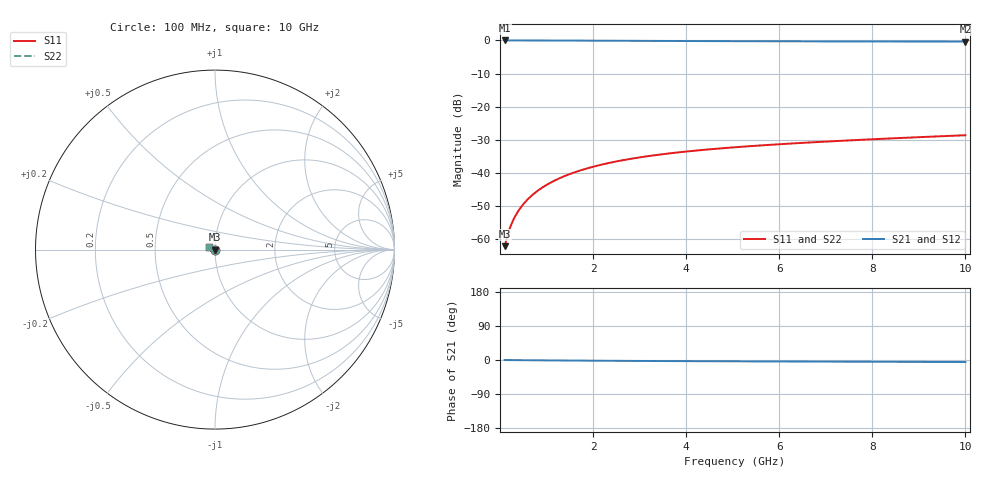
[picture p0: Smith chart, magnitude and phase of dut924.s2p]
! Touchstone file exported from HFSS 2024.1.0
!  File:  C:/UserFiles/LocalFiles/RDL_TSV_Batchsim/temp_TSV1_924_1779946578.aedt
!  Generated:  01:41:03 PM May 28, 2026
!  Design:  TSV1
!  Project:  temp_TSV1_924_1779946578
!  Setup:  Setup1
!  Solution:  Sweep
! Variables:
!  dtsv = 5.83um
!  hbump = 3um
!  htsv = 81.93um
!  lrdl = 252.1521522um
!  p = 40
!  p1 = 43.02um
!  t = 500um
!  trdl = 3um
!  wrdl = 24.89489489um
# GHz S MA R 50.000000
! Terminal data exported
! Port[1] = TSV22_T1
! Port[2] = TSV22_T2
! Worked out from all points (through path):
!   100 points, 100 MHz to 10 GHz, reference 50 ohm
!   highest |S21| = 0.00 dB at 100 MHz (marker M1); lowest = -0.3 dB at 10 GHz (marker M2)
!   lowest |S11| = -62.1 dB at 100 MHz (marker M3), VSWR 1.00, Z = 50 - j0.0671 ohm
!   |S11| at or under -10 dB: start of sweep to end of sweep
!   |S22| runs from -62.1 to -28.6 dB; largest |S21 - S12| = 7.2e-15
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0.1  0.0007808 -59.1  0.9996 -0.1  0.9996 -0.1  0.0007808 -59.1
! Gamma 0 0 0 0
! Port Impedance 50 0 50 0
0.2  0.001398 -75.9  0.9995 -0.2  0.9995 -0.2  0.001398 -75.9
0.3  0.002046 -83.6  0.9993 -0.3  0.9993 -0.3  0.002046 -83.6
0.4  0.002701 -88.4  0.9992 -0.4  0.9992 -0.4  0.002702 -88.4
0.5  0.003357 -92.1  0.999 -0.5  0.999 -0.5  0.003357 -92.1
0.6  0.004009 -95.2  0.9987 -0.6  0.9987 -0.6  0.004009 -95.2
0.7  0.004658 -98.0  0.9985 -0.7  0.9985 -0.7  0.004658 -98.0
0.8  0.005301 -100.5  0.9981 -0.8  0.9981 -0.8  0.005301 -100.5
0.9  0.005937 -102.8  0.9978 -0.9  0.9978 -0.9  0.005937 -102.8
1.1  0.007189 -107.2  0.997 -1.1  0.997 -1.1  0.007189 -107.2
1.4  0.009001 -113.3  0.9955 -1.3  0.9955 -1.3  0.009001 -113.3
1.6  0.01016 -117.1  0.9944 -1.5  0.9944 -1.5  0.01016 -117.1
1.8  0.01128 -120.8  0.9933 -1.7  0.9933 -1.7  0.01128 -120.8
2.1  0.01288 -126.0  0.9914 -1.9  0.9914 -1.9  0.01288 -126.0
2.5  0.01486 -132.5  0.9889 -2.2  0.9889 -2.2  0.01486 -132.5
2.9  0.01668 -138.7  0.9864 -2.4  0.9864 -2.4  0.01668 -138.6
3.4  0.01874 -145.7  0.9833 -2.7  0.9833 -2.7  0.01874 -145.7
4.2  0.02165 -155.9  0.9788 -3.1  0.9788 -3.1  0.02165 -155.9
5.1  0.02449 -165.8  0.9745 -3.5  0.9745 -3.5  0.02449 -165.8
6.7  0.02888 179.6  0.9686 -4.1  0.9686 -4.1  0.02888 179.6
8.4  0.03312 167.2  0.9643 -4.8  0.9643 -4.8  0.03312 167.2
10  0.03698 157.7  0.9614 -5.4  0.9614 -5.4  0.03698 157.7
